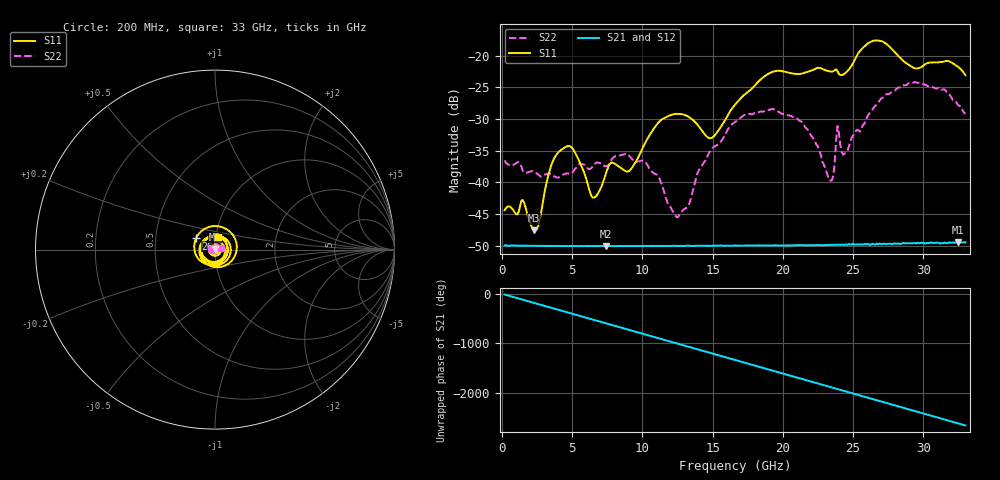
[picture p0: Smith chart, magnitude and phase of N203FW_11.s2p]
# GHZ S RI R 50
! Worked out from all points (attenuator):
!   329 points, 200 MHz to 33 GHz, reference 50 ohm
!   highest |S21| = -49.45 dB at 32.5 GHz (marker M1); lowest = -50.1 dB at 7.4 GHz (marker M2)
!   lowest |S11| = -47.6 dB at 2.3 GHz (marker M3), VSWR 1.01, Z = 50.1 + j0.395 ohm
!   |S11| at or under -10 dB: start of sweep to end of sweep
!   |S22| runs from -45.6 to -24.2 dB; largest |S21 - S12| = 8.8e-05
!   S11 on the Smith chart (normalised r, x): 200 MHz: 1.01, +0.00; 26 GHz: 0.80, +0.10; 33 GHz: 1.03, +0.14
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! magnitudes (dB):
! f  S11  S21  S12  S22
! 200 MHz  -44.4  -50.0  -49.9  -36.5
! 1.5 GHz  -42.8  -50.0  -50.0  -38.2
! 2.3 GHz  -47.6  -50.0  -50.0  -38.4
! 3.9 GHz  -35.6  -50.0  -50.0  -39.2
! 5.7 GHz  -37.6  -50.1  -50.0  -37.1
! 6.5 GHz  -42.4  -50.1  -50.0  -37.4
! 7.4 GHz  -38.7  -50.1  -50.0  -37.4
! 9.1 GHz  -38.1  -50.0  -50.0  -35.9
! 11.2 GHz  -30.4  -50.1  -50.0  -39.3
! 12.5 GHz  -29.2  -50.0  -50.0  -45.6
! 14.9 GHz  -33.0  -50.0  -50.0  -34.9
! 16.6 GHz  -27.8  -50.0  -50.0  -30.5
! 19.3 GHz  -22.5  -49.9  -50.0  -28.4
! 22.1 GHz  -22.3  -49.9  -49.9  -32.9
! 23.4 GHz  -22.5  -49.8  -49.9  -39.8
! 23.6 GHz  -22.5  -49.9  -49.9  -38.9
! 23.9 GHz  -22.5  -49.9  -49.9  -31.1
! 24.3 GHz  -23.0  -49.8  -49.8  -35.7
! 26 GHz  -18.2  -49.8  -49.7  -29.7
! 27.6 GHz  -18.6  -49.7  -49.7  -26.0
! 32.5 GHz  -21.8  -49.4  -49.4  -27.9
! 33 GHz  -23.1  -49.5  -49.5  -29.2
